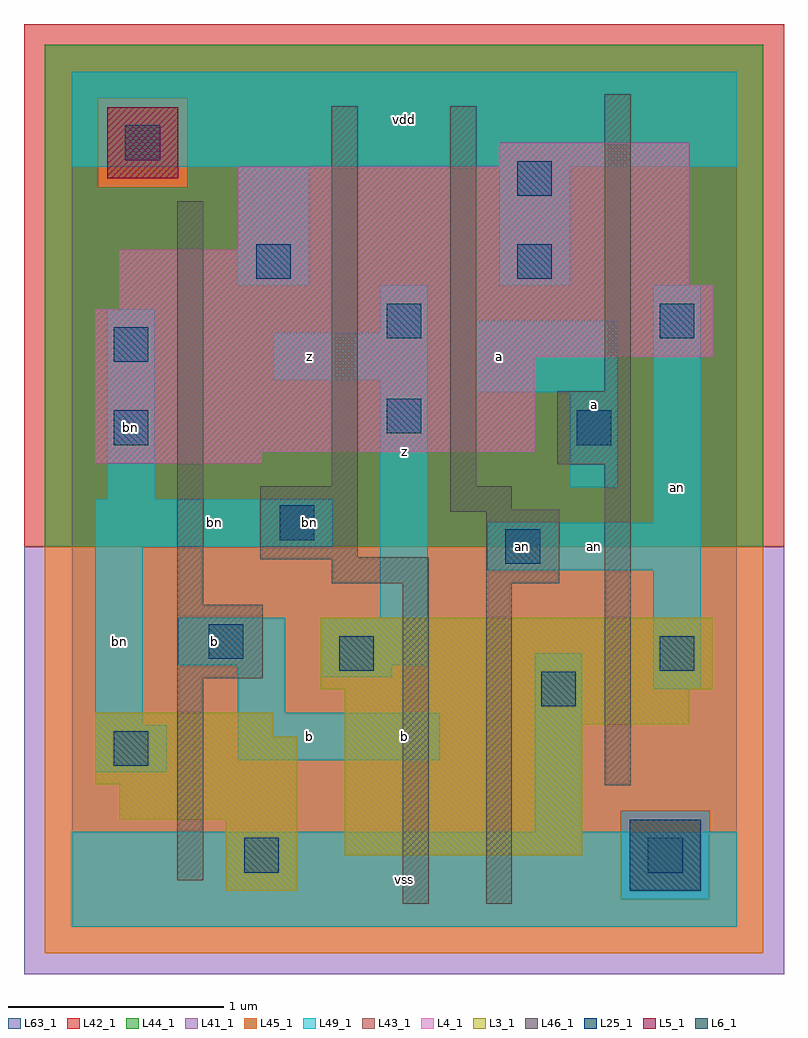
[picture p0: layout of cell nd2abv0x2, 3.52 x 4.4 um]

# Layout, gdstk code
import gdstk
lib = gdstk.Library(unit=1e-6, precision=1e-09)
def R(c, l, rs):  # rectangles x0, y0, x1, y1
    for r in rs: c.add(gdstk.rectangle(r[:2], r[2:], *l))
L3_1 = (3, 1)
L4_1 = (4, 1)
L5_1 = (5, 1)
L6_1 = (6, 1)
L25_1 = (25, 1)
L41_1 = (41, 1)
L42_1 = (42, 1)
L43_1 = (43, 1)
L44_1 = (44, 1)
L45_1 = (45, 1)
L46_1 = (46, 1)
L49_1 = (49, 1)
L63_1 = (63, 1)

nd2abv0x2 = lib.new_cell('nd2abv0x2')
R(nd2abv0x2, L3_1, [(0.715,0.165,1.045,0.495), (1.265,0.33,2.365,0.935), (0.22,0.495,1.045,0.66), (0.11,0.66,1.045,0.88), (0.11,0.88,0.935,0.99), (1.265,0.935,2.86,1.1), (1.155,1.1,2.97,1.43)])
R(nd2abv0x2, L4_1, [(0.11,2.145,0.88,2.2), (0.11,2.2,2.145,2.64), (0.11,2.64,2.97,2.86), (0.22,2.86,2.97,2.97), (0.22,2.97,2.86,3.135), (0.77,3.135,2.86,3.52), (1.98,3.52,2.86,3.63)])
R(nd2abv0x2, L5_1, [(0.165,3.465,0.495,3.795)])
R(nd2abv0x2, L6_1, [(2.585,0.165,2.915,0.495)])
R(nd2abv0x2, L25_1, [(0.8,0.25,0.96,0.41), (2.67,0.25,2.83,0.41), (0.195,0.745,0.355,0.905), (2.175,1.02,2.335,1.18), (1.24,1.185,1.4,1.345), (2.725,1.185,2.885,1.345), (0.635,1.24,0.795,1.4), (2.01,1.68,2.17,1.84), (0.965,1.79,1.125,1.95), (0.195,2.23,0.355,2.39), (2.34,2.23,2.5,2.39), (1.46,2.285,1.62,2.445), (0.195,2.615,0.355,2.775), (1.46,2.725,1.62,2.885), (2.725,2.725,2.885,2.885), (0.855,3,1.015,3.16), (2.065,3,2.225,3.16), (2.065,3.385,2.225,3.545), (0.25,3.55,0.41,3.71)])
R(nd2abv0x2, L41_1, [(-0.22,-0.22,3.3,1.76)])
R(nd2abv0x2, L42_1, [(-0.22,1.76,3.3,4.18)])
R(nd2abv0x2, L43_1, [(0.715,0.165,1.045,0.495), (2.585,0.165,2.915,0.495), (1.265,0.33,2.365,0.935), (0.22,0.495,1.045,0.66), (0.11,0.66,1.045,0.88), (0.11,0.88,0.935,0.99), (1.265,0.935,2.86,1.1), (1.155,1.1,2.97,1.43), (0.11,2.145,0.88,2.2), (0.11,2.2,2.145,2.64), (0.11,2.64,2.97,2.86), (0.22,2.86,2.97,2.97), (0.22,2.97,2.86,3.135), (0.77,3.135,2.86,3.52), (0.165,3.465,0.495,3.795), (1.98,3.52,2.86,3.63)])
R(nd2abv0x2, L44_1, [(2.545,0.125,2.955,0.535), (-0.125,1.76,3.205,3.425), (-0.125,3.425,0.125,3.835), (0.535,3.425,3.205,3.835), (-0.125,3.835,3.205,4.085)])
R(nd2abv0x2, L45_1, [(-0.125,-0.125,3.205,0.125), (-0.125,0.125,2.545,0.535), (2.955,0.125,3.205,0.535), (-0.125,0.535,3.205,1.76), (0.125,3.425,0.535,3.835)])
R(nd2abv0x2, L46_1, [(1.535,0.105,1.655,1.59), (1.92,0.105,2.04,1.59), (0.49,0.215,0.61,1.15), (2.47,0.655,2.59,2.14), (0.49,1.15,0.885,1.49), (0.49,1.49,0.61,3.36), (1.205,1.59,1.655,1.7), (1.92,1.59,2.26,1.92), (0.875,1.7,1.655,1.71), (0.875,1.71,1.325,2.04), (1.755,1.92,2.26,1.93), (1.755,1.93,2.04,2.04), (1.205,2.04,1.325,3.8), (1.755,2.04,1.875,3.8), (2.25,2.14,2.59,2.48), (2.47,2.48,2.59,3.855)])
R(nd2abv0x2, L49_1, [(0,0,3.08,0.44), (2.145,0.44,2.365,1.265), (0.11,0.715,0.44,0.935), (0.77,0.77,1.705,0.99), (0.11,0.935,0.33,1.76), (0.77,0.99,0.99,1.21), (2.695,1.1,2.915,1.65), (1.155,1.155,1.485,1.21), (0.495,1.21,0.99,1.43), (1.155,1.21,1.65,1.43), (1.43,1.43,1.65,2.53), (1.925,1.65,2.915,1.87), (0.11,1.76,1.21,1.98), (2.695,1.87,2.915,2.97), (0.165,1.98,0.385,2.86), (2.31,2.035,2.53,2.475), (1.87,2.475,2.53,2.805), (0.935,2.53,1.65,2.75), (1.43,2.75,1.65,2.97), (0.77,2.97,1.1,3.52), (1.98,2.97,2.31,3.52), (0,3.52,3.08,3.96)])
R(nd2abv0x2, L63_1, [(0,0,3.08,3.96)])
nd2abv0x2.add(gdstk.Label('bn', (1.1,1.87), layer=49, texttype=1))
nd2abv0x2.add(gdstk.Label('an', (2.09,1.76), layer=49, texttype=1))
nd2abv0x2.add(gdstk.Label('bn', (0.275,2.31), layer=49, texttype=1))
nd2abv0x2.add(gdstk.Label('bn', (0.22,1.32), layer=49, texttype=1))
nd2abv0x2.add(gdstk.Label('b', (1.1,0.88), layer=49, texttype=1))
nd2abv0x2.add(gdstk.Label('b', (0.66,1.32), layer=49, texttype=1))
nd2abv0x2.add(gdstk.Label('bn', (0.66,1.87), layer=49, texttype=1))
nd2abv0x2.add(gdstk.Label('z', (1.1,2.64), layer=49, texttype=1))
nd2abv0x2.add(gdstk.Label('vss', (1.54,0.22), layer=49, texttype=1))
nd2abv0x2.add(gdstk.Label('b', (1.54,0.88), layer=49, texttype=1))
nd2abv0x2.add(gdstk.Label('z', (1.54,2.2), layer=49, texttype=1))
nd2abv0x2.add(gdstk.Label('a', (1.98,2.64), layer=49, texttype=1))
nd2abv0x2.add(gdstk.Label('vdd', (1.54,3.74), layer=49, texttype=1))
nd2abv0x2.add(gdstk.Label('an', (2.42,1.76), layer=49, texttype=1))
nd2abv0x2.add(gdstk.Label('an', (2.805,2.035), layer=49, texttype=1))
nd2abv0x2.add(gdstk.Label('a', (2.42,2.42), layer=49, texttype=1))

lib.write_gds('nd2abv0x2.gds')
